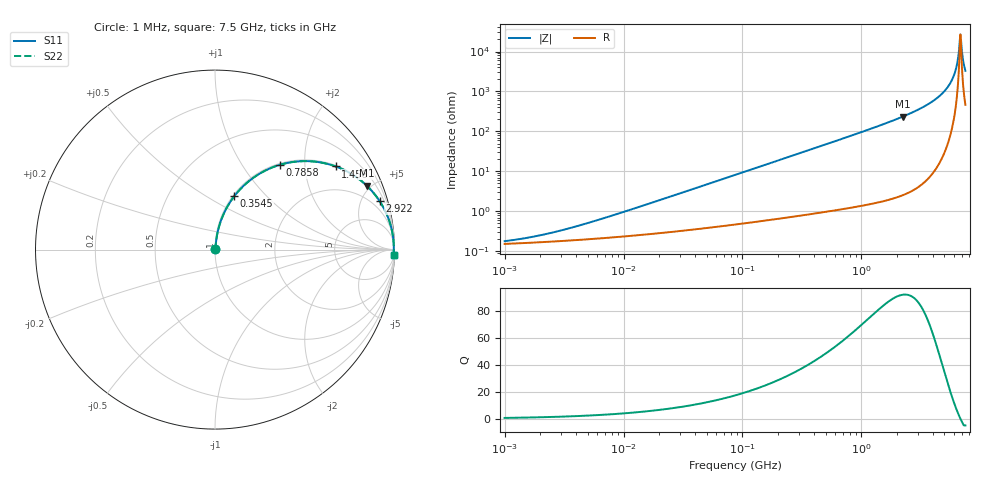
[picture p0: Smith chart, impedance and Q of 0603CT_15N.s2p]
# MHz  S  MA  R  50
!Freq  MagS11  AngS11  MagS21  AngS21  MagS12  AngS12  MagS22  AngS22
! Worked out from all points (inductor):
!   898 points, 1 MHz to 7.5 GHz, reference 50 ohm
!   read as one part in series: L = 15 nH near 6.892 MHz
!   highest Q = 92.5 at 2.234 GHz (marker M1), where L = 16.8 nH
!   self-resonance near 6.809 GHz
!   S11 on the Smith chart (normalised r, x): 1 MHz: 1.00, +0.00; 354.5 MHz: 1.02, +0.67; 785.8 MHz: 1.02, +1.50; 1.456 GHz: 1.03, +2.88; 2.922 GHz: 1.08, +6.75; 7.5 GHz: 10, -65
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1  0.001803 31.4  0.9985 -0.1  0.9985 -0.1  0.001803 31.4
2.026831  0.002553 48.2  0.9983 -0.1  0.9983 -0.1  0.002553 48.2
4.448423  0.00462 64.7  0.998 -0.2  0.998 -0.2  0.00462 64.7
19.59254  0.01863 80.2  0.997 -1.1  0.997 -1.1  0.01863 80.2
87.15591  0.08163 82.0  0.992 -4.7  0.992 -4.7  0.08163 82.0
354.4953  0.3154 70.2  0.9411 -18.4  0.9411 -18.4  0.3154 70.2
383.8677  0.3387 68.8  0.9329 -19.8  0.9329 -19.8  0.3387 68.8
785.8152  0.5958 52.5  0.7936 -36.6  0.7936 -36.6  0.5958 52.5
1456.282  0.8165 34.6  0.5676 -54.7  0.5676 -54.7  0.8165 34.6
1707.606  0.8599 30.0  0.5007 -59.3  0.5007 -59.3  0.8599 30.0
2233.905  0.9172 22.9  0.3887 -66.5  0.3887 -66.5  0.9172 22.9
2922.414  0.9559 16.4  0.2832 -72.9  0.2832 -72.9  0.9559 16.4
4223.112  0.9856 8.8  0.1525 -80.2  0.1525 -80.2  0.9856 8.8
5362.232  0.9943 4.3  0.07488 -83.5  0.07488 -83.5  0.9943 4.3
5749.038  0.9955 3.0  0.05295 -83.6  0.05295 -83.6  0.9955 3.0
6102.72  0.9961 2.0  0.03435 -82.6  0.03435 -82.6  0.9961 2.0
6350.515  0.9963 1.2  0.02207 -79.8  0.02207 -79.8  0.9963 1.2
6608.371  0.9964 0.5  0.01009 -68.6  0.01009 -68.6  0.9964 0.5
6741.199  0.9963 0.2  0.004917 -41.3  0.004917 -41.3  0.9963 0.2
6945.464  0.9962 -0.3  0.007118 57.1  0.007118 57.1  0.9962 -0.3
7299.753  0.9957 -1.2  0.02183 78.0  0.02183 78.0  0.9957 -1.2
7500  0.9953 -1.7  0.03015 80.2  0.03015 80.2  0.9953 -1.7
